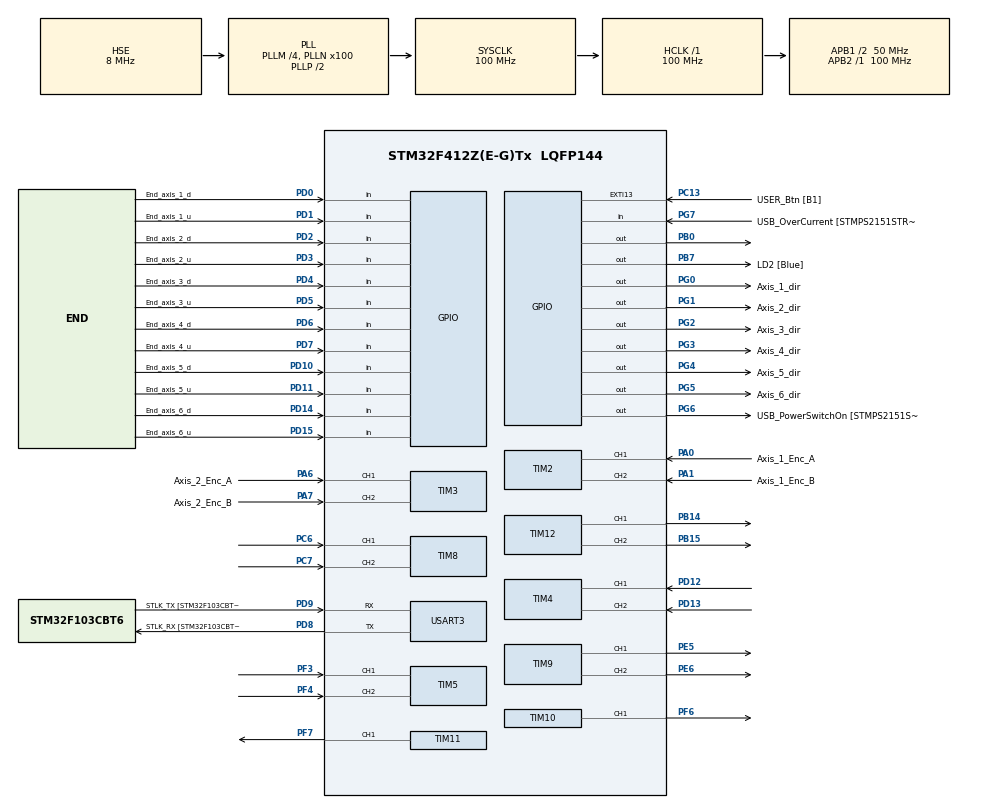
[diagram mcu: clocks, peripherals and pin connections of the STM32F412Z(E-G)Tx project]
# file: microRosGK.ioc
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Dma.Request0=USART3_RX
Dma.Request1=USART3_TX
Dma.USART3_RX.0.Direction=DMA_PERIPH_TO_MEMORY
Dma.USART3_RX.0.FIFOMode=DMA_FIFOMODE_DISABLE
Dma.USART3_RX.0.Instance=DMA1_Stream1
Dma.USART3_RX.0.MemDataAlignment=DMA_MDATAALIGN_BYTE
Dma.USART3_RX.0.MemInc=DMA_MINC_ENABLE
Dma.USART3_RX.0.Mode=DMA_CIRCULAR
Dma.USART3_RX.0.PeriphDataAlignment=DMA_PDATAALIGN_BYTE
Dma.USART3_RX.0.PeriphInc=DMA_PINC_DISABLE
Dma.USART3_RX.0.Priority=DMA_PRIORITY_VERY_HIGH
Dma.USART3_TX.1.Direction=DMA_MEMORY_TO_PERIPH
Dma.USART3_TX.1.FIFOMode=DMA_FIFOMODE_DISABLE
Dma.USART3_TX.1.Instance=DMA1_Stream3
Dma.USART3_TX.1.MemDataAlignment=DMA_MDATAALIGN_BYTE
Dma.USART3_TX.1.MemInc=DMA_MINC_ENABLE
Dma.USART3_TX.1.Mode=DMA_NORMAL
Dma.USART3_TX.1.PeriphDataAlignment=DMA_PDATAALIGN_BYTE
Dma.USART3_TX.1.PeriphInc=DMA_PINC_DISABLE
Dma.USART3_TX.1.Priority=DMA_PRIORITY_VERY_HIGH
FREERTOS.Tasks01=defaultTask,24,4500,StartDefaultTask,Default,NULL,Static,defaultTaskBuffer,defaultTaskControlBlock
Mcu.Family=STM32F4
Mcu.Name=STM32F412Z(E-G)Tx
Mcu.Package=LQFP144
NVIC.DMA1_Stream1_IRQn=true\:5\:0\:false\:false\:true\:true\:false\:true\:true
NVIC.DMA1_Stream3_IRQn=true\:5\:0\:false\:false\:true\:true\:false\:true\:true
NVIC.PriorityGroup=NVIC_PRIORITYGROUP_4
NVIC.TIM1_UP_TIM10_IRQn=true\:5\:0\:false\:false\:true\:true\:false\:true\:true
NVIC.TimeBase=TIM1_UP_TIM10_IRQn
NVIC.TimeBaseIP=TIM1
NVIC.USART3_IRQn=true\:5\:0\:false\:false\:true\:true\:true\:true\:true
PA0.GPIO_Label=Axis_1_Enc_A
PA0.Signal=S_TIM2_CH1_ETR
PA1.GPIO_Label=Axis_1_Enc_B
PA1.Signal=S_TIM2_CH2
PA10.GPIO_Label=USB_ID
PA10.Signal=USB_OTG_FS_ID
PA11.GPIO_Label=USB_DM
PA11.Signal=USB_OTG_FS_DM
PA12.GPIO_Label=USB_DP
PA12.Signal=USB_OTG_FS_DP
PA13.GPIO_Label=TMS
PA13.Mode=Trace_Asynchronous_SW
PA13.Signal=SYS_JTMS-SWDIO
PA14.GPIO_Label=TCK
PA14.Mode=Trace_Asynchronous_SW
PA14.Signal=SYS_JTCK-SWCLK
PA6.GPIO_Label=Axis_2_Enc_A
PA6.Signal=S_TIM3_CH1
PA7.GPIO_Label=Axis_2_Enc_B
PA7.Signal=S_TIM3_CH2
PA8.GPIO_Label=USB_SOF [TP1]
PA8.Signal=USB_OTG_FS_SOF
PA9.GPIO_Label=USB_VBUS
PA9.Signal=USB_OTG_FS_VBUS
PB0.Signal=GPIO_Output
PB14.Signal=S_TIM12_CH1
PB15.Signal=S_TIM12_CH2
PB3.GPIO_Label=SWO
PB3.Mode=Trace_Asynchronous_SW
PB3.Signal=SYS_JTDO-SWO
PB7.GPIO_Label=LD2 [Blue]
PB7.Signal=GPIO_Output
PC13.GPIO_Label=USER_Btn [B1]
PC13.Signal=GPXTI13
PC14-OSC32_IN.Signal=RCC_OSC32_IN
PC15-OSC32_OUT.Signal=RCC_OSC32_OUT
PC6.Signal=S_TIM8_CH1
PC7.Signal=S_TIM8_CH2
PD0.GPIO_Label=End_axis_1_d
PD0.Signal=GPIO_Input
PD1.GPIO_Label=End_axis_1_u
PD1.Signal=GPIO_Input
PD10.GPIO_Label=End_axis_5_d
PD10.Signal=GPIO_Input
PD11.GPIO_Label=End_axis_5_u
PD11.Signal=GPIO_Input
PD12.Signal=S_TIM4_CH1
PD13.Signal=S_TIM4_CH2
PD14.GPIO_Label=End_axis_6_d
PD14.Signal=GPIO_Input
PD15.GPIO_Label=End_axis_6_u
PD15.Signal=GPIO_Input
PD2.GPIO_Label=End_axis_2_d
PD2.Signal=GPIO_Input
PD3.GPIO_Label=End_axis_2_u
PD3.Signal=GPIO_Input
PD4.GPIO_Label=End_axis_3_d
PD4.Signal=GPIO_Input
PD5.GPIO_Label=End_axis_3_u
PD5.Signal=GPIO_Input
PD6.GPIO_Label=End_axis_4_d
PD6.Signal=GPIO_Input
PD7.GPIO_Label=End_axis_4_u
PD7.Signal=GPIO_Input
PD8.GPIO_Label=STLK_RX [STM32F103CBT6_PA3]
PD8.Mode=Asynchronous
PD8.Signal=USART3_TX
PD9.GPIO_Label=STLK_TX [STM32F103CBT6_PA2]
PD9.Mode=Asynchronous
PD9.Signal=USART3_RX
PE5.Signal=S_TIM9_CH1
PE6.Signal=S_TIM9_CH2
PF3.Signal=S_TIM5_CH1
PF4.Signal=S_TIM5_CH2
PF6.Signal=S_TIM10_CH1
PF7.Signal=S_TIM11_CH1
PG0.GPIO_Label=Axis_1_dir
PG0.Signal=GPIO_Output
PG1.GPIO_Label=Axis_2_dir
PG1.Signal=GPIO_Output
PG2.GPIO_Label=Axis_3_dir
PG2.Signal=GPIO_Output
PG3.GPIO_Label=Axis_4_dir
PG3.Signal=GPIO_Output
PG4.GPIO_Label=Axis_5_dir
PG4.Signal=GPIO_Output
PG5.GPIO_Label=Axis_6_dir
PG5.Signal=GPIO_Output
PG6.GPIO_Label=USB_PowerSwitchOn [STMPS2151STR_EN]
PG6.Signal=GPIO_Output
PG7.GPIO_Label=USB_OverCurrent [STMPS2151STR_FAULT]
PG7.Signal=GPIO_Input
PH0\ -\ OSC_IN.GPIO_Label=MCO
PH0\ -\ OSC_IN.Mode=HSE-External-Oscillator
PH0\ -\ OSC_IN.Signal=RCC_OSC_IN
PH1\ -\ OSC_OUT.Mode=HSE-External-Oscillator
PH1\ -\ OSC_OUT.Signal=RCC_OSC_OUT
ProjectManager.HeapSize=0x200
ProjectManager.StackSize=0x400
ProjectManager.TargetToolchain=Makefile
RCC.48MHZClocksFreq_Value=24000000
RCC.AHBFreq_Value=100000000
RCC.APB1CLKDivider=RCC_HCLK_DIV2
RCC.APB1Freq_Value=50000000
RCC.APB1TimFreq_Value=100000000
RCC.APB2Freq_Value=100000000
RCC.APB2TimFreq_Value=100000000
RCC.CortexFreq_Value=100000000
RCC.HCLKFreq_Value=100000000
RCC.HSE_VALUE=8000000
RCC.HSI_VALUE=16000000
RCC.PLLM=4
RCC.PLLMUL=RCC_PLL_MUL9
RCC.PLLN=100
RCC.PLLSourceVirtual=RCC_PLLSOURCE_HSE
RCC.PRESCALERUSB=RCC_USBCLKSOURCE_PLL_DIV1_5
RCC.SYSCLKFreq_VALUE=100000000
RCC.SYSCLKSource=RCC_SYSCLKSOURCE_PLLCLK
RCC.SYSCLKSourceVirtual=RCC_SYSCLKSOURCE_PLLCLK
RCC.USBFreq_Value=100000000
RCC.VCOOutputFreq_Value=200000000
SH.S_TIM10_CH1.0=TIM10_CH1,PWM Generation1 CH1
SH.S_TIM11_CH1.0=TIM11_CH1,PWM Generation1 CH1
SH.S_TIM12_CH1.0=TIM12_CH1,PWM Generation1 CH1
SH.S_TIM12_CH2.0=TIM12_CH2,PWM Generation2 CH2
SH.S_TIM2_CH1_ETR.0=TIM2_CH1,Encoder_Interface
SH.S_TIM2_CH2.0=TIM2_CH2,Encoder_Interface
SH.S_TIM3_CH1.0=TIM3_CH1,Encoder_Interface
SH.S_TIM3_CH2.0=TIM3_CH2,Encoder_Interface
SH.S_TIM4_CH1.0=TIM4_CH1,Encoder_Interface
SH.S_TIM4_CH2.0=TIM4_CH2,Encoder_Interface
SH.S_TIM5_CH1.0=TIM5_CH1,Encoder_Interface
SH.S_TIM5_CH2.0=TIM5_CH2,Encoder_Interface
SH.S_TIM8_CH1.0=TIM8_CH1,Encoder_Interface
SH.S_TIM8_CH2.0=TIM8_CH2,Encoder_Interface
SH.S_TIM9_CH1.0=TIM9_CH1,PWM Generation1 CH1
SH.S_TIM9_CH2.0=TIM9_CH2,PWM Generation2 CH2
TIM10.Channel=TIM_CHANNEL_1
TIM11.Channel=TIM_CHANNEL_1
TIM12.Channel-PWM\ Generation1\ CH1=TIM_CHANNEL_1
TIM12.Channel-PWM\ Generation2\ CH2=TIM_CHANNEL_2
TIM2.AutoReloadPreload=TIM_AUTORELOAD_PRELOAD_ENABLE
TIM2.EncoderMode=TIM_ENCODERMODE_TI12
TIM9.Channel-PWM\ Generation1\ CH1=TIM_CHANNEL_1
TIM9.Channel-PWM\ Generation2\ CH2=TIM_CHANNEL_2
USART3.VirtualMode=VM_ASYNC
VP_FREERTOS_VS_CMSIS_V2.Mode=CMSIS_V2
VP_SYS_VS_tim1.Mode=TIM1
VP_TIM10_VS_ClockSourceINT.Mode=Enable_Timer
VP_TIM11_VS_ClockSourceINT.Mode=Enable_Timer
VP_TIM12_VS_ClockSourceINT.Mode=Internal
board=NUCLEO-F412ZG

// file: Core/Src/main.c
/* USER CODE BEGIN Header */
/**
  ******************************************************************************
  * @file           : main.c
  * @brief          : Main program body
  ******************************************************************************
  * @attention
  *
  * Copyright (c) 2023 STMicroelectronics.
  * All rights reserved.
  *
  * This software is licensed under terms that can be found in the LICENSE file
  * in the root directory of this software component.
  * If no LICENSE file comes with this software, it is provided AS-IS.
  *
  ******************************************************************************
  */
/* USER CODE END Header */
#include "main.h"
#include "cmsis_os.h"
#include "dma.h"
#include "tim.h"
#include "usart.h"
#include "gpio.h"

void SystemClock_Config(void);
void MX_FREERTOS_Init(void);

int main(void)
{

  /* MCU Configuration--------------------------------------------------------*/

  /* Reset of all peripherals, Initializes the Flash interface and the Systick. */
  HAL_Init();

  /* Configure the system clock */
  SystemClock_Config();

  /* Initialize all configured peripherals */
  MX_GPIO_Init();
  MX_DMA_Init();
  MX_USART3_UART_Init();
  MX_TIM2_Init();
  MX_TIM3_Init();
  MX_TIM4_Init();
  MX_TIM5_Init();
  MX_TIM8_Init();
  MX_TIM9_Init();
  MX_TIM10_Init();
  MX_TIM11_Init();
  MX_TIM12_Init();
  /* USER CODE BEGIN 2 */

  HAL_TIM_PWM_Start(&htim2, TIM_CHANNEL_1);
  HAL_TIM_PWM_Start(&htim2, TIM_CHANNEL_2);
  HAL_TIM_PWM_Start(&htim2, TIM_CHANNEL_3);
  HAL_TIM_PWM_Start(&htim2, TIM_CHANNEL_4);

  /* USER CODE END 2 */

  /* Init scheduler */
  osKernelInitialize();  /* Call init function for freertos objects (in freertos.c) */
  MX_FREERTOS_Init();

  /* Start scheduler */
  osKernelStart();
  /* We should never get here as control is now taken by the scheduler */
  /* Infinite loop */
  while (1)
  {

  }
}

void SystemClock_Config(void)
{
  RCC_OscInitTypeDef RCC_OscInitStruct = {0};
  RCC_ClkInitTypeDef RCC_ClkInitStruct = {0};

  /** Configure the main internal regulator output voltage
  */
  __HAL_RCC_PWR_CLK_ENABLE();
  __HAL_PWR_VOLTAGESCALING_CONFIG(PWR_REGULATOR_VOLTAGE_SCALE1);

  /** Initializes the RCC Oscillators according to the specified parameters
  * in the RCC_OscInitTypeDef structure.
  */
  RCC_OscInitStruct.OscillatorType = RCC_OSCILLATORTYPE_HSE;
  RCC_OscInitStruct.HSEState = RCC_HSE_ON;
  RCC_OscInitStruct.PLL.PLLState = RCC_PLL_ON;
  RCC_OscInitStruct.PLL.PLLSource = RCC_PLLSOURCE_HSE;
  RCC_OscInitStruct.PLL.PLLM = 4;
  RCC_OscInitStruct.PLL.PLLN = 100;
  RCC_OscInitStruct.PLL.PLLP = RCC_PLLP_DIV2;
  RCC_OscInitStruct.PLL.PLLQ = 2;
  RCC_OscInitStruct.PLL.PLLR = 2;
  if (HAL_RCC_OscConfig(&RCC_OscInitStruct) != HAL_OK)
  {
    Error_Handler();
  }

  /** Initializes the CPU, AHB and APB buses clocks
  */
  RCC_ClkInitStruct.ClockType = RCC_CLOCKTYPE_HCLK|RCC_CLOCKTYPE_SYSCLK
                              |RCC_CLOCKTYPE_PCLK1|RCC_CLOCKTYPE_PCLK2;
  RCC_ClkInitStruct.SYSCLKSource = RCC_SYSCLKSOURCE_PLLCLK;
  RCC_ClkInitStruct.AHBCLKDivider = RCC_SYSCLK_DIV1;
  RCC_ClkInitStruct.APB1CLKDivider = RCC_HCLK_DIV2;
  RCC_ClkInitStruct.APB2CLKDivider = RCC_HCLK_DIV1;

  if (HAL_RCC_ClockConfig(&RCC_ClkInitStruct, FLASH_LATENCY_3) != HAL_OK)
  {
    Error_Handler();
  }
}

/* USER CODE BEGIN 4 */
void pwm_1_setvalue(uint16_t value)
{
    TIM_OC_InitTypeDef sConfigOC;

    sConfigOC.OCMode = TIM_OCMODE_PWM1;
    sConfigOC.Pulse = value;
    sConfigOC.OCPolarity = TIM_OCPOLARITY_HIGH;
    sConfigOC.OCFastMode = TIM_OCFAST_DISABLE;
    HAL_TIM_PWM_ConfigChannel(&htim2, &sConfigOC, TIM_CHANNEL_1);
    HAL_TIM_PWM_Start(&htim2, TIM_CHANNEL_1);
}
void pwm_2_setvalue(uint16_t value)
{
    TIM_OC_InitTypeDef sConfigOC;

    sConfigOC.OCMode = TIM_OCMODE_PWM1;
    sConfigOC.Pulse = value;
    sConfigOC.OCPolarity = TIM_OCPOLARITY_HIGH;
    sConfigOC.OCFastMode = TIM_OCFAST_DISABLE;
    HAL_TIM_PWM_ConfigChannel(&htim2, &sConfigOC, TIM_CHANNEL_2);
    HAL_TIM_PWM_Start(&htim2, TIM_CHANNEL_2);
}
/* USER CODE END 4 */

void HAL_TIM_PeriodElapsedCallback(TIM_HandleTypeDef *htim)
{
  if (htim->Instance == TIM1) {
    HAL_IncTick();
  }
}

void Error_Handler(void)
{
  __disable_irq();
  while (1)
  {
  }
}

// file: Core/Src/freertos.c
/* USER CODE BEGIN Header */
/**
  ******************************************************************************
  * File Name          : freertos.c
  * Description        : Code for freertos applications
  ******************************************************************************
  * @attention
  *
  * Copyright (c) 2023 STMicroelectronics.
  * All rights reserved.
  *
  * This software is licensed under terms that can be found in the LICENSE file
  * in the root directory of this software component.
  * If no LICENSE file comes with this software, it is provided AS-IS.
  *
  ******************************************************************************
  */
/* USER CODE END Header */

#include "FreeRTOS.h"
#include "task.h"
#include "main.h"
#include "cmsis_os.h"

/* USER CODE BEGIN Includes */

#include <stdbool.h>

#include <rcl/rcl.h>
#include <rcl/error_handling.h>
#include <rclc/rclc.h>
#include <rclc/executor.h>
#include <uxr/client/transport.h>
#include <rmw_microxrcedds_c/config.h>
#include <rmw_microros/rmw_microros.h>

#include <std_msgs/msg/float32.h>
#include <std_msgs/msg/float32_multi_array.h>

#include "usart.h"

#include "pid.h"

/* USER CODE END Includes */

typedef StaticTask_t osStaticThreadDef_t;

/* USER CODE BEGIN PM */
#define RCCHECK(fn) { rcl_ret_t temp_rc = fn; if((temp_rc != RCL_RET_OK)){printf("Failed status on line %d: %d. Aborting.\n",__LINE__,(int)temp_rc); return 1;}}
#define RCSOFTCHECK(fn) { rcl_ret_t temp_rc = fn; if((temp_rc != RCL_RET_OK)){printf("Failed status on line %d: %d. Continuing.\n",__LINE__,(int)temp_rc);}}
/* USER CODE END PM */

/* USER CODE BEGIN Variables */
std_msgs__msg__Float32MultiArray encoderValues_msg;
std_msgs__msg__Float32MultiArray referenceValues_msg;

rcl_publisher_t axis_publisher;
//
rcl_subscription_t axis_subscriber;

//
PID_TypeDef Motor_1_PID;
PID_TypeDef Motor_2_PID;
PID_TypeDef Motor_3_PID;
PID_TypeDef Motor_4_PID;
PID_TypeDef Motor_5_PID;
//PID_TypeDef Motor_6_PID;

//float axis_referenceValues[6] = {0.0, 0.0, 0.0, 0.0, 0.0, 0.0};
float PWM_Motor_1 = 0.0;
float PWM_Motor_2 = 0.0;
float PWM_Motor_3 = 0.0;
float PWM_Motor_4 = 0.0;
float PWM_Motor_5 = 0.0;
//float PWM_Motor_6 = 0.0;

extern TIM_HandleTypeDef htim2;
extern TIM_HandleTypeDef htim3;
extern TIM_HandleTypeDef htim4;
extern TIM_HandleTypeDef htim5;
extern TIM_HandleTypeDef htim8;
extern TIM_HandleTypeDef htim9;
extern TIM_HandleTypeDef htim10;
extern TIM_HandleTypeDef htim11;
extern TIM_HandleTypeDef htim12;

rcl_timer_t timer_pub;
rcl_timer_t timer_pid;

/* USER CODE END Variables */
/* Definitions for defaultTask */
osThreadId_t defaultTaskHandle;
uint32_t defaultTaskBuffer[ 4500 ];
osStaticThreadDef_t defaultTaskControlBlock;
const osThreadAttr_t defaultTask_attributes = {
  .name = "defaultTask",
  .cb_mem = &defaultTaskControlBlock,
  .cb_size = sizeof(defaultTaskControlBlock),
  .stack_mem = &defaultTaskBuffer[0],
  .stack_size = sizeof(defaultTaskBuffer),
  .priority = (osPriority_t) osPriorityNormal,
};

/* USER CODE BEGIN FunctionPrototypes */
bool cubemx_transport_open(struct uxrCustomTransport * transport);
bool cubemx_transport_close(struct uxrCustomTransport * transport);
size_t cubemx_transport_write(struct uxrCustomTransport* transport, const uint8_t * buf, size_t len, uint8_t * err);
size_t cubemx_transport_read(struct uxrCustomTransport* transport, uint8_t* buf, size_t len, int timeout, uint8_t* err);

void * microros_allocate(size_t size, void * state);
void microros_deallocate(void * pointer, void * state);
void * microros_reallocate(void * pointer, size_t size, void * state);
void * microros_zero_allocate(size_t number_of_elements, size_t size_of_element, void * state);

void pwm_1_setvalue(uint16_t value);
void pwm_2_setvalue(uint16_t value);
void pub_callback(rcl_timer_t *timer, int64_t last_call_time)
{
  RCLC_UNUSED(last_call_time);
  if (timer != NULL)
  {
	encoderValues_msg.data.data[0]++;
	RCSOFTCHECK(rcl_publish(&axis_publisher, &encoderValues_msg, NULL));
  }
}

void pid_callback(rcl_timer_t *timer, int64_t last_call_time)
{
  RCLC_UNUSED(last_call_time);
  if (timer != NULL)
  {
	    if (!HAL_GPIO_ReadPin(GPIOC, GPIO_PIN_13) == GPIO_PIN_RESET)
	    {
	    	HAL_GPIO_WritePin(GPIOB, GPIO_PIN_7, 1);
	    	encoderValues_msg.data.data[0] = 0.0;
	    	encoderValues_msg.data.data[1] = 0.0;
	    	encoderValues_msg.data.data[2] = 0.0;
	    	encoderValues_msg.data.data[3] = 0.0;
	    	encoderValues_msg.data.data[4] = 0.0;
	    	encoderValues_msg.data.data[5] = 0.0;
	    }
	    else
	    {
	    	HAL_GPIO_WritePin(GPIOB, GPIO_PIN_7, 0);
	    	// Save encoder value.  Temp cast to signed value, then save as float
	    	uint32_t counter = HAL_TIM_ReadCapturedValue(&htim2, TIM_CHANNEL_1);
	    	encoderValues_msg.data.data[0] = (int32_t)counter;
	    	counter = HAL_TIM_ReadCapturedValue(&htim3, TIM_CHANNEL_1);
	    	encoderValues_msg.data.data[1] = (int32_t)counter;
	    	counter = HAL_TIM_ReadCapturedValue(&htim4, TIM_CHANNEL_1);
	    	encoderValues_msg.data.data[2] = (int32_t)counter;
	    	counter = HAL_TIM_ReadCapturedValue(&htim5, TIM_CHANNEL_1);
	    	encoderValues_msg.data.data[3] = (int32_t)counter;
	    	counter = HAL_TIM_ReadCapturedValue(&htim8, TIM_CHANNEL_1);
	    	encoderValues_msg.data.data[4] = (int32_t)counter;
	    	//encoderValues_msg.data.data[5] = HAL_TIM_ReadCapturedValue(&htim2, TIM_CHANNEL_1);
		  PID_Compute(&Motor_1_PID);
		  PID_Compute(&Motor_2_PID);
		  PID_Compute(&Motor_3_PID);
		  PID_Compute(&Motor_4_PID);
		  PID_Compute(&Motor_5_PID);
		  //PID_Compute(&Motor_6_PID);
		  // Set PWMs
		  // for each motor, check direction based on sign of float,
		  // set direction of H-Bridge by setting DIR pin.
		  // Then check End-Switch for chosen direction
		  // If End-Switch active, set PWM to 0
		  // Otherwise set PWM to H-Bridge

		  // Motor 1
		  if (PWM_Motor_1 < 0)
		  {
			  HAL_GPIO_WritePin(GPIOG, GPIO_PIN_0, 1);
		  	  if (HAL_GPIO_ReadPin(GPIOD, GPIO_PIN_0) == GPIO_PIN_RESET)
		  		PWM_Motor_1 = 0;
		  }
		  else
		  {
			  HAL_GPIO_WritePin(GPIOG, GPIO_PIN_0, 0);
		  	  if (HAL_GPIO_ReadPin(GPIOD, GPIO_PIN_1) == GPIO_PIN_RESET)
		  		PWM_Motor_1 = 0;
		  }
		  __HAL_TIM_SET_COMPARE(&htim9,TIM_CHANNEL_1,abs(PWM_Motor_1));

		  // Motor 2
		  if (PWM_Motor_2 < 0)
		  {
			  HAL_GPIO_WritePin(GPIOG, GPIO_PIN_1, 1);
		  	  if (HAL_GPIO_ReadPin(GPIOD, GPIO_PIN_2) == GPIO_PIN_RESET)
		  		PWM_Motor_2 = 0;
		  }
		  else
		  {
			  HAL_GPIO_WritePin(GPIOG, GPIO_PIN_1, 0);
		  	  if (HAL_GPIO_ReadPin(GPIOD, GPIO_PIN_3) == GPIO_PIN_RESET)
		  		PWM_Motor_2 = 0;
		  }
		  __HAL_TIM_SET_COMPARE(&htim9,TIM_CHANNEL_2,PWM_Motor_2);

		  // Motor 3
		  if (PWM_Motor_3 < 0)
		  {
			  HAL_GPIO_WritePin(GPIOG, GPIO_PIN_2, 1);
		  	  if (HAL_GPIO_ReadPin(GPIOD, GPIO_PIN_4) == GPIO_PIN_RESET)
		  		PWM_Motor_3 = 0;
		  }
		  else
		  {
			  HAL_GPIO_WritePin(GPIOG, GPIO_PIN_2, 0);
		  	  if (HAL_GPIO_ReadPin(GPIOD, GPIO_PIN_5) == GPIO_PIN_RESET)
		  		PWM_Motor_3 = 0;
		  }
		  __HAL_TIM_SET_COMPARE(&htim10,TIM_CHANNEL_1,PWM_Motor_3);

		  // Motor 4
		  if (PWM_Motor_4 < 0)
		  {
			  HAL_GPIO_WritePin(GPIOG, GPIO_PIN_3, 1);
		  	  if (HAL_GPIO_ReadPin(GPIOD, GPIO_PIN_6) == GPIO_PIN_RESET)
		  		PWM_Motor_4 = 0;
		  }
		  else
		  {
			  HAL_GPIO_WritePin(GPIOG, GPIO_PIN_3, 0);
		  	  if (HAL_GPIO_ReadPin(GPIOD, GPIO_PIN_7) == GPIO_PIN_RESET)
		  		PWM_Motor_4 = 0;
		  }
		  __HAL_TIM_SET_COMPARE(&htim11,TIM_CHANNEL_1,PWM_Motor_4);

		  // Motor 5
		  if (PWM_Motor_5 < 0)
		  {
			  HAL_GPIO_WritePin(GPIOG, GPIO_PIN_4, 1);
		  	  if (HAL_GPIO_ReadPin(GPIOD, GPIO_PIN_10) == GPIO_PIN_RESET)
		  		PWM_Motor_1 = 0;
		  }
		  else
		  {
			  HAL_GPIO_WritePin(GPIOG, GPIO_PIN_4, 0);
		  	  if (HAL_GPIO_ReadPin(GPIOD, GPIO_PIN_11) == GPIO_PIN_RESET)
		  		PWM_Motor_1 = 0;
		  }
		  __HAL_TIM_SET_COMPARE(&htim12,TIM_CHANNEL_1,PWM_Motor_5);

		  // Motor 5
		  // Note Motor 5 does not use a PID for positioning.  The Gripper here
		  // uses the references values directly as the voltage to be applied
		  // as a (crude) method of force control for gripping.
		  if (referenceValues_msg.data.data[5] < 0)
		  {
			  HAL_GPIO_WritePin(GPIOG, GPIO_PIN_5, 1);
		  	  if (HAL_GPIO_ReadPin(GPIOD, GPIO_PIN_14) == GPIO_PIN_RESET)
		  		PWM_Motor_1 = 0;
		  }
		  else
		  {
			  HAL_GPIO_WritePin(GPIOG, GPIO_PIN_5, 0);
		  	  if (HAL_GPIO_ReadPin(GPIOD, GPIO_PIN_15) == GPIO_PIN_RESET)
		  		PWM_Motor_1 = 0;
		  }
		  __HAL_TIM_SET_COMPARE(&htim12,TIM_CHANNEL_1,referenceValues_msg.data.data[5]);
	    }
  }
}

void axis_subscription_callback(const void * msgin)
{
  // Cast received message to used type
  const std_msgs__msg__Float32MultiArray * msgIn = (const std_msgs__msg__Float32MultiArray *)msgin;

  referenceValues_msg.data.data[0] = msgIn->data.data[0];
  referenceValues_msg.data.data[1] = msgIn->data.data[1];
  referenceValues_msg.data.data[2] = msgIn->data.data[2];
  referenceValues_msg.data.data[3] = msgIn->data.data[3];
  referenceValues_msg.data.data[4] = msgIn->data.data[4];
  referenceValues_msg.data.data[5] = msgIn->data.data[5];
}

//void HAL_TIM_IC_CaptureCallback(TIM_HandleTypeDef *htim)
//{
//	encoderValues_msg.data.data[0] = __HAL_TIM_GET_COUNTER(htim);
//}
/* USER CODE END FunctionPrototypes */

void StartDefaultTask(void *argument);

void MX_FREERTOS_Init(void); /* (MISRA C 2004 rule 8.1) */

void MX_FREERTOS_Init(void) {

  /* Create the thread(s) */
  /* creation of defaultTask */
  defaultTaskHandle = osThreadNew(StartDefaultTask, NULL, &defaultTask_attributes);

}

void StartDefaultTask(void *argument)
{
  /* USER CODE BEGIN StartDefaultTask */
	  // micro-ROS configuration

	  rmw_uros_set_custom_transport(
	    true,
	    (void *) &huart3,
	    cubemx_transport_open,
	    cubemx_transport_close,
	    cubemx_transport_write,
	    cubemx_transport_read);

	  rcl_allocator_t freeRTOS_allocator = rcutils_get_zero_initialized_allocator();
	  freeRTOS_allocator.allocate = microros_allocate;
	  freeRTOS_allocator.deallocate = microros_deallocate;
	  freeRTOS_allocator.reallocate = microros_reallocate;
	  freeRTOS_allocator.zero_allocate =  microros_zero_allocate;

	  if (!rcutils_set_default_allocator(&freeRTOS_allocator)) {
	      printf("Error on default allocators (line %d)\n", __LINE__);
	  }

	  // micro-ROS app

	  const rosidl_message_type_support_t * type_support =
	    ROSIDL_GET_MSG_TYPE_SUPPORT(std_msgs, msg, Float32MultiArray);

	  rclc_support_t support;
	  rcl_allocator_t allocator;
	  rcl_node_t node;

	  allocator = rcl_get_default_allocator();

	  //create init_options
	  rclc_support_init(&support, 0, NULL, &allocator);

	  // create node
	  rclc_node_init_default(&node, "robot_HIL_node", "", &support);

	   //create publishers
	    rclc_publisher_init_default(
	      &axis_publisher,
	      &node,
	  	type_support,
	      "axis_positions");

	    encoderValues_msg.data.capacity = 5;
	    encoderValues_msg.data.size = 5;
	    encoderValues_msg.data.data = (float*)malloc(encoderValues_msg.data.capacity *sizeof(float));

	    encoderValues_msg.layout.dim.capacity = 1;
	    encoderValues_msg.layout.dim.size = 0;
	    encoderValues_msg.layout.dim.data = (std_msgs__msg__MultiArrayDimension*) malloc(encoderValues_msg.layout.dim.capacity * sizeof(std_msgs__msg__MultiArrayDimension));

	    for(size_t i = 0; i < encoderValues_msg.layout.dim.capacity; i++){
	    	encoderValues_msg.layout.dim.data[i].label.capacity = 1;
	    	encoderValues_msg.layout.dim.data[i].label.size = 1;
	    	encoderValues_msg.layout.dim.data[i].label.data = (char*) malloc(encoderValues_msg.layout.dim.data[i].label.capacity * sizeof(char));
	    	encoderValues_msg.layout.dim.data[i].label.data[0] = 0;
	    }
	    snprintf(encoderValues_msg.layout.dim.data[0].label.data, 11, "Robot Axes");

	    encoderValues_msg.data.data[0] = 0.0;
	    encoderValues_msg.data.data[1] = 0.0;
	    encoderValues_msg.data.data[2] = 0.0;
	    encoderValues_msg.data.data[3] = 0.0;
	    encoderValues_msg.data.data[4] = 0.0;
	    //encoderValues_msg.data.data[5] = 0.0;

	    referenceValues_msg.data.capacity = 6;
	    referenceValues_msg.data.size = 6;
	    referenceValues_msg.data.data = (float*)malloc(referenceValues_msg.data.capacity *sizeof(float));

	    referenceValues_msg.layout.dim.capacity = 1;
	    referenceValues_msg.layout.dim.size = 0;
	    referenceValues_msg.layout.dim.data = (std_msgs__msg__MultiArrayDimension*) malloc(referenceValues_msg.layout.dim.capacity * sizeof(std_msgs__msg__MultiArrayDimension));

	    for(size_t i = 0; i < referenceValues_msg.layout.dim.capacity; i++){
	    	referenceValues_msg.layout.dim.data[i].label.capacity = 1;
	    	referenceValues_msg.layout.dim.data[i].label.size = 1;
	    	referenceValues_msg.layout.dim.data[i].label.data = (char*) malloc(referenceValues_msg.layout.dim.data[i].label.capacity * sizeof(char));
	    	referenceValues_msg.layout.dim.data[i].label.data[0] = 0;
	    }
	    snprintf(referenceValues_msg.layout.dim.data[0].label.data, 11, "Robot Axes");

	    referenceValues_msg.data.data[0] = 0.0;
	    referenceValues_msg.data.data[1] = 0.0;
	    referenceValues_msg.data.data[2] = 0.0;
	    referenceValues_msg.data.data[3] = 0.0;
	    referenceValues_msg.data.data[4] = 0.0;
	    referenceValues_msg.data.data[5] = 0.0;

	  // Initialize a reliable subscriber
	  rclc_subscription_init_default(
		&axis_subscriber,
		&node,
		type_support,
		"axis_references");

	  rclc_executor_t executor = rclc_executor_get_zero_initialized_executor();

	  rclc_executor_init(&executor, &support.context, 3, &allocator);

	  // Add subscription to the executor
	  rclc_executor_add_subscription(
	    &executor, &axis_subscriber, &referenceValues_msg,
	    &axis_subscription_callback, ON_NEW_DATA);

	  const unsigned int pub_timer_timeout = 500;
	  rclc_timer_init_default(
	      &timer_pub,
	      &support,
	      RCL_MS_TO_NS(pub_timer_timeout),
	      pub_callback);
	  rclc_executor_add_timer(&executor, &timer_pub);

	  const unsigned int pid_timer_timeout = 20;
	  rclc_timer_init_default(
	      &timer_pid,
	      &support,
	      RCL_MS_TO_NS(pid_timer_timeout),
	      pid_callback);
	  rclc_executor_add_timer(&executor, &timer_pid);

	  PID(&Motor_1_PID, &(encoderValues_msg.data.data[0]), &PWM_Motor_1, &(referenceValues_msg.data.data[0]), 2, 5, 1, _PID_P_ON_E, _PID_CD_DIRECT);
	  PID_SetMode(&Motor_1_PID, _PID_MODE_AUTOMATIC);
	  PID_SetSampleTime(&Motor_1_PID, 500);
	  PID_SetOutputLimits(&Motor_1_PID, 1, 100);
	  PID(&Motor_2_PID, &(encoderValues_msg.data.data[1]), &PWM_Motor_2, &(referenceValues_msg.data.data[1]), 2, 5, 1, _PID_P_ON_E, _PID_CD_DIRECT);
	  PID_SetMode(&Motor_2_PID, _PID_MODE_AUTOMATIC);
	  PID_SetSampleTime(&Motor_2_PID, 500);
	  PID_SetOutputLimits(&Motor_2_PID, 1, 100);
	  PID(&Motor_3_PID, &(encoderValues_msg.data.data[2]), &PWM_Motor_3, &(referenceValues_msg.data.data[2]), 2, 5, 1, _PID_P_ON_E, _PID_CD_DIRECT);
	  PID_SetMode(&Motor_3_PID, _PID_MODE_AUTOMATIC);
	  PID_SetSampleTime(&Motor_3_PID, 500);
	  PID_SetOutputLimits(&Motor_3_PID, 1, 100);
	  PID(&Motor_4_PID, &(encoderValues_msg.data.data[3]), &PWM_Motor_4, &(referenceValues_msg.data.data[3]), 2, 5, 1, _PID_P_ON_E, _PID_CD_DIRECT);
	  PID_SetMode(&Motor_4_PID, _PID_MODE_AUTOMATIC);
	  PID_SetSampleTime(&Motor_4_PID, 500);
	  PID_SetOutputLimits(&Motor_4_PID, 1, 100);
	  PID(&Motor_5_PID, &(encoderValues_msg.data.data[4]), &PWM_Motor_5, &(referenceValues_msg.data.data[4]), 2, 5, 1, _PID_P_ON_E, _PID_CD_DIRECT);
	  PID_SetMode(&Motor_5_PID, _PID_MODE_AUTOMATIC);
	  PID_SetSampleTime(&Motor_5_PID, 500);
	  PID_SetOutputLimits(&Motor_5_PID, 1, 100);

	  for(;;)
	  {

	    // Output to PWMs

	    rclc_executor_spin(&executor);
	  }
  /* USER CODE END StartDefaultTask */
}
